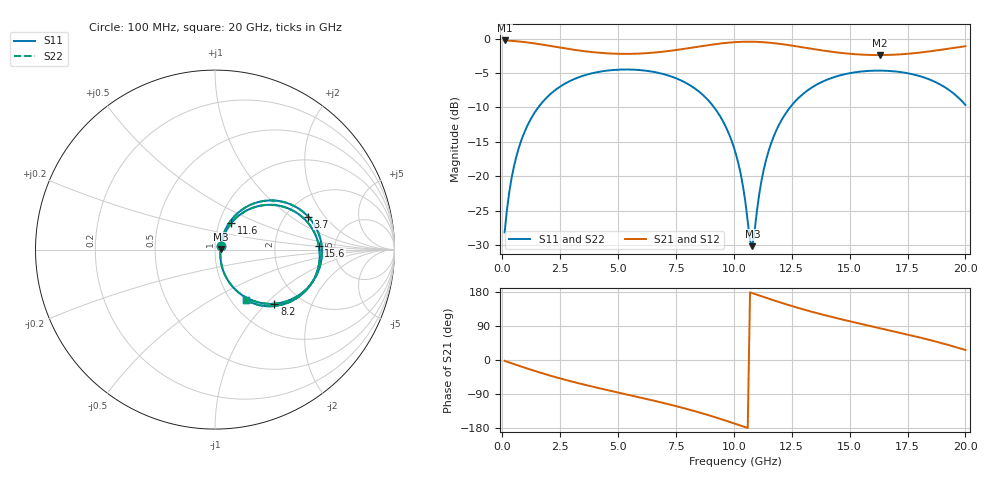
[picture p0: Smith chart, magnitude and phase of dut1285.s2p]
! Touchstone file exported from HFSS 2026.1.0
!  File:  C:/ffzhzh/LocalFiles/Ansys_Project_Files/temp_train_TSV_RDL_1285_1783331179_30076.aedt
!  Generated:  06:00:24 PM Jul  6, 2026
!  Design:  TSV_RDL
!  Project:  temp_train_TSV_RDL_1285_1783331179_30076
! Variables:
!  h_bsmrdl = 2.38um
!  h_ox = 20um
!  h_rdl = 5um
!  h_sub = 62.38um
!  h_tmrdl = 4.42um
!  h_tsv = 62.38um
!  h_via = 3um
!  l_bsmrdl = 653.14um
!  l_sub = 5986.75um
!  l_tmrdl = 876.36um
!  m_sub = 200um
!  pitch = 53.54um
!  r_tsv = 7.29um
!  s_tmrdl = 10um
!  w_bsmrdl = 14.96um
!  w_sub = 500um
!  w_tmrdl = 25.67um
!  x_tsv_center1 = 889.195um
!  x_tsv_center2 = 1557.295um
!  x_tsv_center3 = 2459.325um
!  x_tsv_center4 = 3127.425um
!  x_tsv_center5 = 4029.455um
!  x_tsv_center6 = 4697.555um
# GHz S MA R 50.000000
! Terminal data exported
! Port[1] = TM_RDL1_1_T1
! Port[2] = TM_RDL5_1_T1
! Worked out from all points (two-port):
!   200 points, 100 MHz to 20 GHz, reference 50 ohm
!   highest |S21| = -0.28 dB at 100 MHz (marker M1); lowest = -2.4 dB at 16.3 GHz (marker M2)
!   |S21| within 3 dB of the highest: start of sweep to end of sweep
!   lowest |S11| = -30.1 dB at 10.8 GHz (marker M3), VSWR 1.06, Z = 53.2 + j0.319 ohm
!   |S11| at or under -10 dB: start of sweep to 1.553 GHz; 9.151 GHz to 12.43 GHz (3.275 GHz wide, 30.4 % of centre)
!   |S22| runs from -30.1 to -4.5 dB; largest |S21 - S12| = 1.7e-14
!   S11 on the Smith chart (normalised r, x): 100 MHz: 1.07, +0.05; 3.7 GHz: 2.62, +1.39; 8.2 GHz: 1.49, -1.12; 11.6 GHz: 1.14, +0.34; 15.6 GHz: 3.73, +0.25; 20 GHz: 1.17, -0.74
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0.1  0.03925 35.1  0.9685 -2.2  0.9685 -2.2  0.03925 35.1
! Gamma 0 0 0 0
! Port Impedance 50 0 50 0
0.5  0.1174 62.3  0.9594 -10.7  0.9594 -10.7  0.1174 62.3
1.1  0.2364 58.4  0.9365 -23.0  0.9365 -23.0  0.2364 58.4
2.1  0.3986 43.3  0.8824 -41.8  0.8824 -41.8  0.3986 43.3
3.5  0.5377 22.4  0.8112 -64.5  0.8112 -64.5  0.5377 22.4
3.7  0.5502 19.6  0.8035 -67.5  0.8035 -67.5  0.5502 19.6
5.2  0.596 -0.5  0.7739 -88.6  0.7739 -88.6  0.596 -0.5
6.8  0.5608 -21.8  0.7981 -111.0  0.7981 -111.0  0.5608 -21.8
8.2  0.4479 -42.3  0.859 -133.1  0.859 -133.1  0.4479 -42.3
9.3  0.2916 -59.6  0.9147 -153.1  0.9147 -153.1  0.2915 -59.5
10.1  0.143 -68.7  0.9425 -169.1  0.9425 -169.1  0.143 -68.7
10.7  0.0342 -29.6  0.9487 178.5  0.9487 178.5  0.03439 -29.4
10.8  0.03117 5.5  0.9483 176.4  0.9483 176.4  0.03143 5.5
11.2  0.09421 57.8  0.9425 168.1  0.9425 168.1  0.09436 57.6
11.6  0.1718 58.5  0.9308 160.0  0.9308 160.0  0.1719 58.4
12.3  0.2963 49.6  0.8997 146.3  0.8997 146.3  0.2964 49.5
13.4  0.4448 32.8  0.8406 126.8  0.8406 126.8  0.4449 32.7
15.6  0.5787 2.2  0.7634 93.8  0.7634 93.8  0.5788 2.2
16.3  0.5853 -6.9  0.7589 84.1  0.7589 84.1  0.5854 -6.9
16.7  0.5822 -12.0  0.7609 78.6  0.7609 78.6  0.5823 -12.1
18.6  0.4926 -37.8  0.8132 50.6  0.8132 50.6  0.4926 -37.9
20  0.3298 -58.3  0.8792 26.5  0.8792 26.5  0.3297 -58.5
